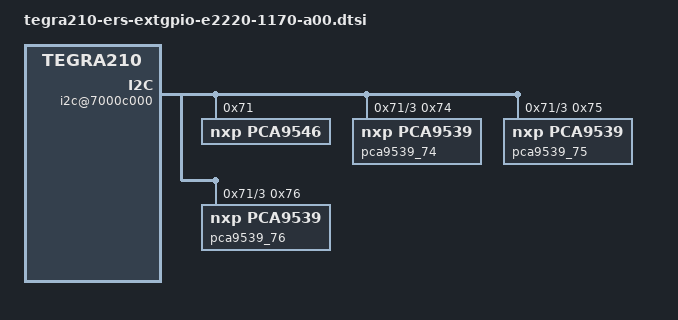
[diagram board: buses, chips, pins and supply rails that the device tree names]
/ {
	i2c@7000c000 {
		pca9546@71 {
			compatible = "nxp,pca9546";
			reg = <0x71>;
			#address-cells = <1>;
			#size-cells = <0>;

			pca9546_i2c0: i2c@0 {
				reg = <0>;
				i2c-mux,deselect-on-exit;
				#address-cells = <1>;
				#size-cells = <0>;
			};
			pca9546_i2c1: i2c@1 {
				reg = <1>;
				i2c-mux,deselect-on-exit;
				#address-cells = <1>;
				#size-cells = <0>;
			};
			pca9546_i2c2: i2c@2 {
				reg = <2>;
				i2c-mux,deselect-on-exit;
				#address-cells = <1>;
				#size-cells = <0>;
			};
			pca9546_i2c3: i2c@3 {
				reg = <3>;
				i2c-mux,deselect-on-exit;
				#address-cells = <1>;
				#size-cells = <0>;

				pca9539_74: gpio@74 {
					compatible = "nxp,pca9539";
					gpio-controller;
					#gpio-cells = <2>;
					reg = <0x74>;
				};

				pca9539_75: gpio@75 {
					compatible = "nxp,pca9539";
					gpio-controller;
					#gpio-cells = <2>;
					reg = <0x75>;
				};

				pca9539_76: gpio@76 {
					compatible = "nxp,pca9539";
					gpio-controller;
					#gpio-cells = <2>;
					reg = <0x76>;
				};
			};
		};
	};
};
